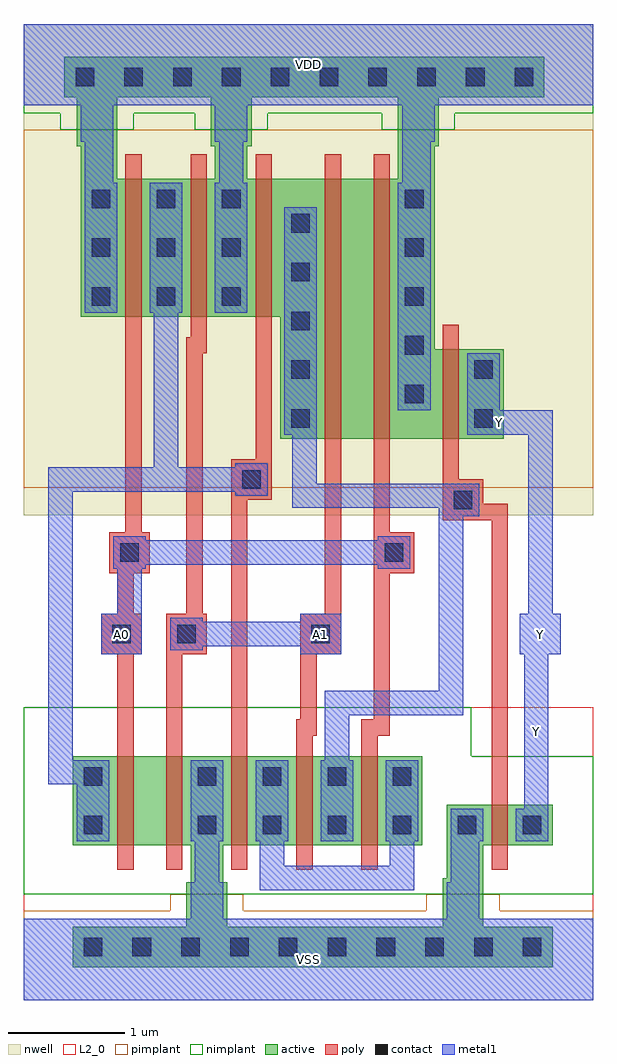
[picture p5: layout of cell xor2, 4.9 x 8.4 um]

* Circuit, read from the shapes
.subckt xor2 A0 A1 VDD VSS Y
M1 n1 A0 n2 VSS nfet w=0.77u l=0.14u
M2 VSS A1 n1 VSS nfet w=0.77u l=0.14u
M3 n3 n2 VSS VSS nfet w=0.77u l=0.14u
M4 n4 A1 n3 VSS nfet w=0.77u l=0.14u
M5 n3 A0 n4 VSS nfet w=0.77u l=0.14u
M6 Y n4 VSS VSS nfet w=0.35u l=0.14u
M7 n2 A0 VDD VDD pfet w=1.19u l=0.14u
M8 VDD A1 n2 VDD pfet w=1.19u l=0.14u
M9 n4 n2 VDD VDD pfet w=1.19u l=0.14u
M10 n5 A1 n4 VDD pfet w=2.24u l=0.14u
M11 VDD A0 n5 VDD pfet w=2.24u l=0.14u
M12 Y n4 VDD VDD pfet w=0.77u l=0.14u
.ends

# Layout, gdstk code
import gdstk
lib = gdstk.Library(unit=1e-6, precision=1e-09)
def R(c, l, rs):  # rectangles x0, y0, x1, y1
    for r in rs: c.add(gdstk.rectangle(r[:2], r[2:], *l))
def A(c, l, x, y, w, h, nx, ny, dx, dy):  # array of equal rectangles
    R(c, l, [(x+i*dx, y+j*dy, x+i*dx+w, y+j*dy+h) for i in range(nx) for j in range(ny)])
def P(c, l, *ps):  # polygons
    for p in ps: c.add(gdstk.Polygon(p, *l))
L2_0 = (2, 0)
nwell = (3, 0)
active = (6, 0)
poly = (17, 0)
pimplant = (25, 0)
nimplant = (26, 0)
contact = (30, 0)
metal1 = (31, 0)

adk_poly_m1 = lib.new_cell('ADK_poly_m1')
R(adk_poly_m1, poly, [(-0.175,-0.175,0.175,0.175)])
R(adk_poly_m1, contact, [(-0.08,-0.08,0.08,0.08)])
R(adk_poly_m1, metal1, [(-0.175,-0.175,0.175,0.175)])

xor2 = lib.new_cell('xor2')
R(xor2, L2_0, [(0,0,4.9,2.52)])
R(xor2, nwell, [(0,4.17,4.9,8.4)])
P(xor2, nwell, [(4.55,4.41),(4.55,6.02),(3.955,6.02),(3.955,7.49),(0.07,7.49),(0.07,5.46),(1.785,5.46),(1.785,4.41)])
R(xor2, active, [(0.42,0.28,4.55,0.63), (1.4,0.63,1.75,1.015), (3.605,0.63,3.955,1.05), (1.435,1.015,1.715,1.33), (3.64,1.05,3.955,1.33), (0.42,1.33,3.43,2.1), (0.42,1.33,0.805,2.1), (3.045,1.33,3.43,2.1), (3.64,1.33,4.55,1.68), (3.64,1.33,4.025,1.68), (4.165,1.33,4.55,1.68), (3.745,4.83,4.13,5.6), (0.49,5.88,0.875,7.07), (0.49,7.07,0.805,7.35), (1.645,7.07,1.925,7.35), (3.22,7.07,3.535,7.35), (0.455,7.35,0.805,7.77), (1.61,7.35,1.96,7.77), (3.22,7.35,3.57,7.77), (0.35,7.77,4.48,8.12)])
P(xor2, active, [(4.13,4.83),(4.13,5.6),(3.535,5.6),(3.535,7.07),(0.49,7.07),(0.49,5.88),(2.205,5.88),(2.205,4.83)])
A(xor2, poly, 1.225, 1.12, 0.14, 0.21, 4, 2, 0.56, 0.98)
A(xor2, poly, 1.225, 1.33, 0.14, 0.77, 4, 1, 0.56, 0)
A(xor2, poly, 0.875, 5.67, 0.14, 0.21, 3, 2, 0.56, 1.4)
A(xor2, poly, 0.875, 5.88, 0.14, 1.19, 3, 1, 0.56, 0)
R(xor2, poly, [(0.805,1.12,0.945,1.33), (4.025,1.12,4.165,1.33), (0.805,1.33,0.945,2.1), (4.025,1.33,4.165,1.68), (4.025,1.68,4.165,1.89), (0.805,2.1,0.945,2.31), (1.225,2.975,1.575,3.325), (0.735,3.675,1.085,4.025), (3.01,3.675,3.36,4.025), (3.605,4.13,3.955,4.48), (1.785,4.305,2.135,4.655), (2.59,4.62,2.73,4.83), (3.01,4.62,3.15,4.83), (3.605,4.62,3.745,4.83), (2.59,4.83,2.73,7.07), (3.01,4.83,3.15,7.07), (3.605,4.83,3.745,5.6), (3.605,5.6,3.745,5.81), (2.59,7.07,2.73,7.28), (3.01,7.07,3.15,7.28)])
R(xor2, pimplant, [(0,0,4.9,0.77), (1.26,0.77,1.89,0.91), (3.465,0.77,4.095,0.91), (0,4.41,4.9,7.49)])
R(xor2, nimplant, [(0,0.91,3.85,2.52), (3.22,0.91,4.9,2.1), (0.315,7.49,0.945,7.63), (1.47,7.49,2.1,7.63), (3.08,7.49,3.71,7.63), (0,7.63,4.9,8.4)])
A(xor2, contact, 0.515, 0.375, 0.16, 0.16, 10, 1, 0.42, 0)
A(xor2, contact, 1.495, 1.425, 0.16, 0.16, 6, 1, 0.56, 0)
A(xor2, contact, 1.495, 1.845, 0.16, 0.16, 4, 1, 0.56, 0)
A(xor2, contact, 2.3, 4.925, 0.16, 0.16, 1, 5, 0, 0.42)
A(xor2, contact, 3.28, 5.135, 0.16, 0.16, 1, 5, 0, 0.42)
A(xor2, contact, 0.585, 5.975, 0.16, 0.16, 3, 3, 0.56, 0.42)
A(xor2, contact, 0.445, 7.865, 0.16, 0.16, 10, 1, 0.42, 0)
R(xor2, contact, [(0.515,1.425,0.675,1.585), (0.515,1.845,0.675,2.005), (1.32,3.07,1.48,3.23), (0.83,3.77,0.99,3.93), (3.105,3.77,3.265,3.93), (3.7,4.225,3.86,4.385), (1.88,4.4,2.04,4.56), (3.875,4.925,4.035,5.085), (3.875,5.345,4.035,5.505)])
A(xor2, metal1, 1.435, 1.365, 0.28, 0.7, 4, 1, 0.56, 0)
A(xor2, metal1, 0.525, 5.915, 0.28, 1.12, 3, 1, 0.56, 0)
R(xor2, metal1, [(0,0,4.9,0.7), (1.435,0.7,1.715,1.015), (3.64,0.7,3.92,1.015), (1.47,1.015,1.68,1.365), (3.675,1.015,3.92,1.365), (0.455,1.365,0.735,2.065), (3.675,1.365,3.955,1.645), (4.235,1.365,4.515,1.645), (0.665,2.975,1.015,3.325), (2.38,2.975,2.73,3.325), (4.27,2.975,4.62,3.325), (4.27,2.975,4.62,3.325), (1.26,3.01,1.54,3.29), (0.77,3.71,1.05,3.99), (3.045,3.71,3.325,3.99), (3.64,4.165,3.92,4.445), (1.82,4.34,2.1,4.62), (2.24,4.865,2.52,6.825), (3.815,4.865,4.095,5.565), (3.22,5.075,3.5,7.035), (0.525,7.035,0.77,7.385), (1.68,7.035,1.89,7.385), (3.255,7.035,3.5,7.385), (0.49,7.385,0.77,7.7), (1.645,7.385,1.925,7.7), (3.255,7.385,3.535,7.7), (0,7.7,4.9,8.4)])
xor2.add(gdstk.FlexPath([(0.91,3.325),(0.91,3.71)], 0.21, ends="flush", simple_path=True, layer=31, datatype=0))  # metal1
xor2.add(gdstk.FlexPath([(1.12,4.48),(0.315,4.48),(0.315,1.96),(0.455,1.96)], 0.21, ends="flush", simple_path=True, layer=31, datatype=0))  # metal1
xor2.add(gdstk.FlexPath([(2.415,4.865),(2.415,4.34),(3.675,4.34),(3.675,2.555),(2.695,2.555),(2.695,2.065)], 0.21, ends="flush", simple_path=True, layer=31, datatype=0))  # metal1
xor2.add(gdstk.FlexPath([(3.045,3.85),(1.05,3.85)], 0.21, ends="flush", simple_path=True, layer=31, datatype=0))  # metal1
xor2.add(gdstk.FlexPath([(1.82,4.48),(1.225,4.48),(1.225,5.915)], 0.21, ends="flush", simple_path=True, layer=31, datatype=0))  # metal1
xor2.add(gdstk.FlexPath([(4.41,1.645),(4.41,2.975)], 0.21, ends="flush", simple_path=True, layer=31, datatype=0))  # metal1
xor2.add(gdstk.FlexPath([(4.095,4.97),(4.445,4.97),(4.445,3.325)], 0.21, ends="flush", simple_path=True, layer=31, datatype=0))  # metal1
xor2.add(gdstk.FlexPath([(2.415,3.15),(1.54,3.15)], 0.21, ends="flush", simple_path=True, layer=31, datatype=0))  # metal1
xor2.add(gdstk.FlexPath([(3.255,1.365),(3.255,1.05),(2.135,1.05),(2.135,1.365)], 0.21, ends="flush", simple_path=True, layer=31, datatype=0))  # metal1
xor2.add(gdstk.FlexPath([(0.945,5.705),(0.945,4.025)], 0.14, ends="flush", simple_path=True, layer=17, datatype=0))  # poly
xor2.add(gdstk.FlexPath([(3.675,4.655),(3.675,4.48)], 0.14, ends="flush", simple_path=True, layer=17, datatype=0))  # poly
xor2.add(gdstk.FlexPath([(2.66,3.325),(2.66,4.655)], 0.14, ends="flush", simple_path=True, layer=17, datatype=0))  # poly
xor2.add(gdstk.FlexPath([(3.08,4.655),(3.08,2.345),(2.905,2.345)], 0.14, ends="flush", simple_path=True, layer=17, datatype=0))  # poly
xor2.add(gdstk.FlexPath([(0.875,2.275),(0.875,3.675)], 0.14, ends="flush", simple_path=True, layer=17, datatype=0))  # poly
xor2.add(gdstk.FlexPath([(2.45,2.975),(2.45,2.345),(2.345,2.345)], 0.14, ends="flush", simple_path=True, layer=17, datatype=0))  # poly
xor2.add(gdstk.FlexPath([(2.065,5.705),(2.065,4.655)], 0.14, ends="flush", simple_path=True, layer=17, datatype=0))  # poly
xor2.add(gdstk.FlexPath([(1.575,5.635),(1.47,5.635),(1.47,3.325)], 0.14, ends="flush", simple_path=True, layer=17, datatype=0))  # poly
xor2.add(gdstk.FlexPath([(1.295,2.975),(1.295,2.275)], 0.14, ends="flush", simple_path=True, layer=17, datatype=0))  # poly
xor2.add(gdstk.FlexPath([(1.855,2.275),(1.855,4.305)], 0.14, ends="flush", simple_path=True, layer=17, datatype=0))  # poly
xor2.add(gdstk.FlexPath([(4.095,1.855),(4.095,4.2),(3.955,4.2)], 0.14, ends="flush", simple_path=True, layer=17, datatype=0))  # poly
xor2.add(gdstk.Reference(adk_poly_m1, (0.84,3.15)))
xor2.add(gdstk.Reference(adk_poly_m1, (2.555,3.15)))
xor2.add(gdstk.Label('Y', (4.445,3.15), layer=131, texttype=0))
xor2.add(gdstk.Label('A1', (2.555,3.15), layer=131, texttype=0))
xor2.add(gdstk.Label('A0', (0.84,3.15), layer=131, texttype=0))
xor2.add(gdstk.Label('VDD', (2.45,8.05), layer=131, texttype=0))
xor2.add(gdstk.Label('VSS', (2.45,0.35), layer=131, texttype=0))
xor2.add(gdstk.Label('Y', (4.445,3.15), layer=31, texttype=0))
xor2.add(gdstk.Label('Y', (4.445,3.15), layer=31, texttype=0))
xor2.add(gdstk.Label('Y', (4.095,4.97), layer=31, texttype=0))
xor2.add(gdstk.Label('Y', (4.41,2.31), layer=31, texttype=0))
xor2.add(gdstk.Label('A1', (2.555,3.15), layer=31, texttype=0))
xor2.add(gdstk.Label('A0', (0.84,3.15), layer=31, texttype=0))
xor2.add(gdstk.Label('VDD', (2.45,8.05), layer=31, texttype=0))
xor2.add(gdstk.Label('VSS', (2.45,0.35), layer=31, texttype=0))

lib.write_gds('xor2.gds')
